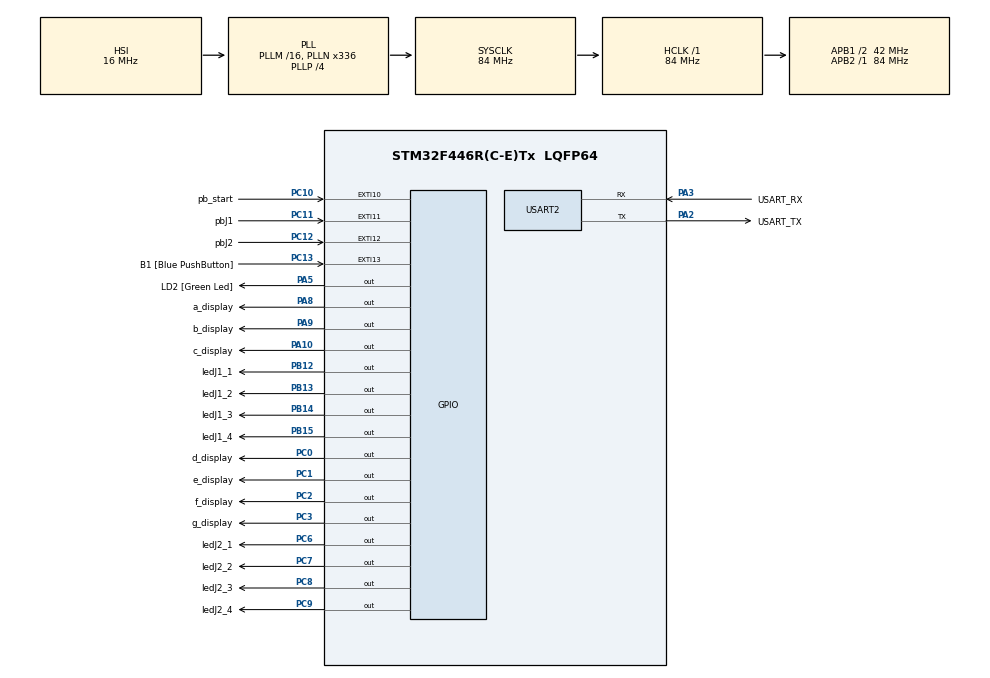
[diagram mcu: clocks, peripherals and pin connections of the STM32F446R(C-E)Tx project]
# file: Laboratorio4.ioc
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Mcu.Family=STM32F4
Mcu.Name=STM32F446R(C-E)Tx
Mcu.Package=LQFP64
NVIC.EXTI15_10_IRQn=true\:0\:0\:false\:false\:true\:true\:true\:true
NVIC.PriorityGroup=NVIC_PRIORITYGROUP_0
NVIC.TIM2_IRQn=true\:0\:0\:false\:false\:true\:true\:true\:true
PA10.GPIO_Label=c_display
PA10.Signal=GPIO_Output
PA13.GPIO_Label=TMS
PA13.Mode=Serial_Wire
PA13.Signal=SYS_JTMS-SWDIO
PA14.GPIO_Label=TCK
PA14.Mode=Serial_Wire
PA14.Signal=SYS_JTCK-SWCLK
PA2.GPIO_Label=USART_TX
PA2.Mode=Asynchronous
PA2.Signal=USART2_TX
PA3.GPIO_Label=USART_RX
PA3.Mode=Asynchronous
PA3.Signal=USART2_RX
PA5.GPIO_Label=LD2 [Green Led]
PA5.Signal=GPIO_Output
PA8.GPIO_Label=a_display
PA8.Signal=GPIO_Output
PA9.GPIO_Label=b_display
PA9.Signal=GPIO_Output
PB12.GPIO_Label=ledJ1_1
PB12.Signal=GPIO_Output
PB13.GPIO_Label=ledJ1_2
PB13.Signal=GPIO_Output
PB14.GPIO_Label=ledJ1_3
PB14.Signal=GPIO_Output
PB15.GPIO_Label=ledJ1_4
PB15.Signal=GPIO_Output
PB3.GPIO_Label=SWO
PB3.Signal=SYS_JTDO-SWO
PC0.GPIO_Label=d_display
PC0.Signal=GPIO_Output
PC1.GPIO_Label=e_display
PC1.Signal=GPIO_Output
PC10.GPIO_Label=pb_start
PC10.Signal=GPXTI10
PC11.GPIO_Label=pbJ1
PC11.GPIO_ModeDefaultEXTI=GPIO_MODE_IT_FALLING
PC11.GPIO_PuPd=GPIO_PULLUP
PC11.Signal=GPXTI11
PC12.GPIO_Label=pbJ2
PC12.GPIO_ModeDefaultEXTI=GPIO_MODE_IT_FALLING
PC12.GPIO_PuPd=GPIO_PULLUP
PC12.Signal=GPXTI12
PC13.GPIO_Label=B1 [Blue PushButton]
PC13.GPIO_ModeDefaultEXTI=GPIO_MODE_IT_FALLING
PC13.Signal=GPXTI13
PC14-OSC32_IN.Mode=LSE-External-Oscillator
PC14-OSC32_IN.Signal=RCC_OSC32_IN
PC15-OSC32_OUT.Mode=LSE-External-Oscillator
PC15-OSC32_OUT.Signal=RCC_OSC32_OUT
PC2.GPIO_Label=f_display
PC2.Signal=GPIO_Output
PC3.GPIO_Label=g_display
PC3.Signal=GPIO_Output
PC6.GPIO_Label=ledJ2_1
PC6.Signal=GPIO_Output
PC7.GPIO_Label=ledJ2_2
PC7.Signal=GPIO_Output
PC8.GPIO_Label=ledJ2_3
PC8.Signal=GPIO_Output
PC9.GPIO_Label=ledJ2_4
PC9.Signal=GPIO_Output
PH0-OSC_IN.Mode=HSE-External-Oscillator
PH0-OSC_IN.Signal=RCC_OSC_IN
PH1-OSC_OUT.Mode=HSE-External-Oscillator
PH1-OSC_OUT.Signal=RCC_OSC_OUT
ProjectManager.HeapSize=0x200
ProjectManager.StackSize=0x400
ProjectManager.TargetToolchain=STM32CubeIDE
RCC.48MHZClocksFreq_Value=84000000
RCC.AHBFreq_Value=84000000
RCC.APB1CLKDivider=RCC_HCLK_DIV2
RCC.APB1Freq_Value=42000000
RCC.APB1TimFreq_Value=84000000
RCC.APB2Freq_Value=84000000
RCC.APB2TimFreq_Value=84000000
RCC.CortexFreq_Value=84000000
RCC.FLatency-AdvancedSettings=FLASH_LATENCY_2
RCC.HCLKFreq_Value=84000000
RCC.HSE_VALUE=8000000
RCC.HSI_VALUE=16000000
RCC.PLLN=336
RCC.PLLP=RCC_PLLP_DIV4
RCC.SYSCLKFreq_VALUE=84000000
RCC.SYSCLKSource=RCC_SYSCLKSOURCE_PLLCLK
RCC.USBFreq_Value=168000000
RCC.VCOOutputFreq_Value=336000000
TIM2.Period=9999
TIM2.Prescaler=8399
USART2.VirtualMode=VM_ASYNC
VP_TIM2_VS_ClockSourceINT.Mode=Internal
board=NUCLEO-F446RE

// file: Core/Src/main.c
/* USER CODE BEGIN Header */
/**
  ******************************************************************************
  * @file           : main.c
  * @brief          : Main program body
  ******************************************************************************
  * @attention
  *
  * Copyright (c) 2026 STMicroelectronics.
  * All rights reserved.
  *
  * This software is licensed under terms that can be found in the LICENSE file
  * in the root directory of this software component.
  * If no LICENSE file comes with this software, it is provided AS-IS.
  *
  ******************************************************************************
  */
/* USER CODE END Header */
#include "main.h"

TIM_HandleTypeDef htim2;

UART_HandleTypeDef huart2;

/* USER CODE BEGIN PV */
uint8_t estado_J1 = 0;
uint8_t estado_J2 = 0;
volatile uint8_t activar_conteo_J1 = 0;
volatile uint8_t activar_conteo_J2 = 0;
uint8_t habilitar_jugadores = 0;
uint8_t contador_mostrar_dis = 0;
uint8_t activar_conteo = 0;
uint8_t reset = 0;

static const uint8_t dig_display[16] =
{
	0x7E, // 0
	0x18, // 1
	0x6D, // 2
	0x3D, // 3
	0x1B, // 4
	0x37, // 5
	0x77, // 6
	0x1C, // 7
	0x7F, // 8
	0x3F, // 9
	0x5F, // A
	0x73, // b
	0x66, // C
	0x79, // d
	0x67, // E
	0x47  // F
};
/* USER CODE END PV */

void SystemClock_Config(void);
static void MX_GPIO_Init(void);
static void MX_USART2_UART_Init(void);
static void MX_TIM2_Init(void);
/* USER CODE BEGIN PFP */
void display_show(uint8_t numero);
/* USER CODE END PFP */

int main(void)
{

  /* MCU Configuration--------------------------------------------------------*/

  /* Reset of all peripherals, Initializes the Flash interface and the Systick. */
  HAL_Init();

  /* Configure the system clock */
  SystemClock_Config();

  /* Initialize all configured peripherals */
  MX_GPIO_Init();
  MX_USART2_UART_Init();
  MX_TIM2_Init();
  /* USER CODE BEGIN 2 */
  HAL_TIM_Base_Start_IT(&htim2);
  /* USER CODE END 2 */

  /* Infinite loop */
  /* USER CODE BEGIN WHILE */
  while (1)
  	{
	  if (reset){
		  estado_J1 = 0x00;
		  estado_J2 = 0x00;
	  }
  // ================== CONTADOR J1 (PC0 a PC3) ================================
  			if (activar_conteo_J1)
  			{
  				activar_conteo_J1 = 0;

  				if (estado_J1 == 0x00)
  				{
  					estado_J1 = 0x01;
  				}
  				else
  				{
  					estado_J1 <<= 1; //Desplazo el 1 para encender los leds
  				}

  				if (estado_J1 > 0x08)
  				{
  					estado_J1 = 0x0F;
  					habilitar_jugadores = 0;
  					activar_conteo = 0;
  					display_show(1);
  				}
  			}

  			// Actualizar LEDs J1
  			HAL_GPIO_WritePin(ledJ1_1_GPIO_Port, ledJ1_1_Pin, (estado_J1 & 0x01) ? GPIO_PIN_SET : GPIO_PIN_RESET);
  			HAL_GPIO_WritePin(ledJ1_2_GPIO_Port, ledJ1_2_Pin, (estado_J1 & 0x02) ? GPIO_PIN_SET : GPIO_PIN_RESET);
  			HAL_GPIO_WritePin(ledJ1_3_GPIO_Port, ledJ1_3_Pin, (estado_J1 & 0x04) ? GPIO_PIN_SET : GPIO_PIN_RESET);
  			HAL_GPIO_WritePin(ledJ1_4_GPIO_Port, ledJ1_4_Pin, (estado_J1 & 0x08) ? GPIO_PIN_SET : GPIO_PIN_RESET);

  			if (activar_conteo_J2)
  			{
  				activar_conteo_J2 = 0;

  				if (estado_J2 == 0x00)
  				{
  					estado_J2 = 0x01;
  				}
  				else
  				{
  					estado_J2 <<= 1; //Desplazo el 1 para encender los leds
  				}

  				if (estado_J2 > 0x08)
  				{
  					estado_J2 = 0x0F;
  					habilitar_jugadores = 0;
  					activar_conteo = 0;
  					display_show(2);
  				}
  			}

  			// Actualizar LEDs J2
  			HAL_GPIO_WritePin(ledJ2_1_GPIO_Port, ledJ2_1_Pin, (estado_J2 & 0x01) ? GPIO_PIN_SET : GPIO_PIN_RESET);
  			HAL_GPIO_WritePin(ledJ2_2_GPIO_Port, ledJ2_2_Pin, (estado_J2 & 0x02) ? GPIO_PIN_SET : GPIO_PIN_RESET);
  			HAL_GPIO_WritePin(ledJ2_3_GPIO_Port, ledJ2_3_Pin, (estado_J2 & 0x04) ? GPIO_PIN_SET : GPIO_PIN_RESET);
  			HAL_GPIO_WritePin(ledJ2_4_GPIO_Port, ledJ2_4_Pin, (estado_J2 & 0x08) ? GPIO_PIN_SET : GPIO_PIN_RESET);

    /* USER CODE END WHILE */

  }
}

void SystemClock_Config(void)
{
  RCC_OscInitTypeDef RCC_OscInitStruct = {0};
  RCC_ClkInitTypeDef RCC_ClkInitStruct = {0};

  /** Configure the main internal regulator output voltage
  */
  __HAL_RCC_PWR_CLK_ENABLE();
  __HAL_PWR_VOLTAGESCALING_CONFIG(PWR_REGULATOR_VOLTAGE_SCALE3);

  /** Initializes the RCC Oscillators according to the specified parameters
  * in the RCC_OscInitTypeDef structure.
  */
  RCC_OscInitStruct.OscillatorType = RCC_OSCILLATORTYPE_HSI;
  RCC_OscInitStruct.HSIState = RCC_HSI_ON;
  RCC_OscInitStruct.HSICalibrationValue = RCC_HSICALIBRATION_DEFAULT;
  RCC_OscInitStruct.PLL.PLLState = RCC_PLL_ON;
  RCC_OscInitStruct.PLL.PLLSource = RCC_PLLSOURCE_HSI;
  RCC_OscInitStruct.PLL.PLLM = 16;
  RCC_OscInitStruct.PLL.PLLN = 336;
  RCC_OscInitStruct.PLL.PLLP = RCC_PLLP_DIV4;
  RCC_OscInitStruct.PLL.PLLQ = 2;
  RCC_OscInitStruct.PLL.PLLR = 2;
  if (HAL_RCC_OscConfig(&RCC_OscInitStruct) != HAL_OK)
  {
    Error_Handler();
  }

  /** Initializes the CPU, AHB and APB buses clocks
  */
  RCC_ClkInitStruct.ClockType = RCC_CLOCKTYPE_HCLK|RCC_CLOCKTYPE_SYSCLK
                              |RCC_CLOCKTYPE_PCLK1|RCC_CLOCKTYPE_PCLK2;
  RCC_ClkInitStruct.SYSCLKSource = RCC_SYSCLKSOURCE_PLLCLK;
  RCC_ClkInitStruct.AHBCLKDivider = RCC_SYSCLK_DIV1;
  RCC_ClkInitStruct.APB1CLKDivider = RCC_HCLK_DIV2;
  RCC_ClkInitStruct.APB2CLKDivider = RCC_HCLK_DIV1;

  if (HAL_RCC_ClockConfig(&RCC_ClkInitStruct, FLASH_LATENCY_2) != HAL_OK)
  {
    Error_Handler();
  }
}

static void MX_TIM2_Init(void)
{

  TIM_ClockConfigTypeDef sClockSourceConfig = {0};
  TIM_MasterConfigTypeDef sMasterConfig = {0};

  htim2.Instance = TIM2;
  htim2.Init.Prescaler = 8399;
  htim2.Init.CounterMode = TIM_COUNTERMODE_UP;
  htim2.Init.Period = 9999;
  htim2.Init.ClockDivision = TIM_CLOCKDIVISION_DIV1;
  htim2.Init.AutoReloadPreload = TIM_AUTORELOAD_PRELOAD_DISABLE;
  if (HAL_TIM_Base_Init(&htim2) != HAL_OK)
  {
    Error_Handler();
  }
  sClockSourceConfig.ClockSource = TIM_CLOCKSOURCE_INTERNAL;
  if (HAL_TIM_ConfigClockSource(&htim2, &sClockSourceConfig) != HAL_OK)
  {
    Error_Handler();
  }
  sMasterConfig.MasterOutputTrigger = TIM_TRGO_RESET;
  sMasterConfig.MasterSlaveMode = TIM_MASTERSLAVEMODE_DISABLE;
  if (HAL_TIMEx_MasterConfigSynchronization(&htim2, &sMasterConfig) != HAL_OK)
  {
    Error_Handler();
  }

}

static void MX_USART2_UART_Init(void)
{

  huart2.Instance = USART2;
  huart2.Init.BaudRate = 115200;
  huart2.Init.WordLength = UART_WORDLENGTH_8B;
  huart2.Init.StopBits = UART_STOPBITS_1;
  huart2.Init.Parity = UART_PARITY_NONE;
  huart2.Init.Mode = UART_MODE_TX_RX;
  huart2.Init.HwFlowCtl = UART_HWCONTROL_NONE;
  huart2.Init.OverSampling = UART_OVERSAMPLING_16;
  if (HAL_UART_Init(&huart2) != HAL_OK)
  {
    Error_Handler();
  }

}

static void MX_GPIO_Init(void)
{
  GPIO_InitTypeDef GPIO_InitStruct = {0};

  /* GPIO Ports Clock Enable */
  __HAL_RCC_GPIOC_CLK_ENABLE();
  __HAL_RCC_GPIOH_CLK_ENABLE();
  __HAL_RCC_GPIOA_CLK_ENABLE();
  __HAL_RCC_GPIOB_CLK_ENABLE();

  /*Configure GPIO pin Output Level */
  HAL_GPIO_WritePin(GPIOC, d_display_Pin|e_display_Pin|f_display_Pin|g_display_Pin
                          |ledJ2_1_Pin|ledJ2_2_Pin|ledJ2_3_Pin|ledJ2_4_Pin, GPIO_PIN_RESET);

  /*Configure GPIO pin Output Level */
  HAL_GPIO_WritePin(GPIOA, LD2_Pin|a_display_Pin|b_display_Pin|c_display_Pin, GPIO_PIN_RESET);

  /*Configure GPIO pin Output Level */
  HAL_GPIO_WritePin(GPIOB, ledJ1_1_Pin|ledJ1_2_Pin|ledJ1_3_Pin|ledJ1_4_Pin, GPIO_PIN_RESET);

  /*Configure GPIO pin : B1_Pin */
  GPIO_InitStruct.Pin = B1_Pin;
  GPIO_InitStruct.Mode = GPIO_MODE_IT_FALLING;
  GPIO_InitStruct.Pull = GPIO_NOPULL;
  HAL_GPIO_Init(B1_GPIO_Port, &GPIO_InitStruct);

  /*Configure GPIO pins : d_display_Pin e_display_Pin f_display_Pin g_display_Pin
                           ledJ2_1_Pin ledJ2_2_Pin ledJ2_3_Pin ledJ2_4_Pin */
  GPIO_InitStruct.Pin = d_display_Pin|e_display_Pin|f_display_Pin|g_display_Pin
                          |ledJ2_1_Pin|ledJ2_2_Pin|ledJ2_3_Pin|ledJ2_4_Pin;
  GPIO_InitStruct.Mode = GPIO_MODE_OUTPUT_PP;
  GPIO_InitStruct.Pull = GPIO_NOPULL;
  GPIO_InitStruct.Speed = GPIO_SPEED_FREQ_LOW;
  HAL_GPIO_Init(GPIOC, &GPIO_InitStruct);

  /*Configure GPIO pins : LD2_Pin a_display_Pin b_display_Pin c_display_Pin */
  GPIO_InitStruct.Pin = LD2_Pin|a_display_Pin|b_display_Pin|c_display_Pin;
  GPIO_InitStruct.Mode = GPIO_MODE_OUTPUT_PP;
  GPIO_InitStruct.Pull = GPIO_NOPULL;
  GPIO_InitStruct.Speed = GPIO_SPEED_FREQ_LOW;
  HAL_GPIO_Init(GPIOA, &GPIO_InitStruct);

  /*Configure GPIO pins : ledJ1_1_Pin ledJ1_2_Pin ledJ1_3_Pin ledJ1_4_Pin */
  GPIO_InitStruct.Pin = ledJ1_1_Pin|ledJ1_2_Pin|ledJ1_3_Pin|ledJ1_4_Pin;
  GPIO_InitStruct.Mode = GPIO_MODE_OUTPUT_PP;
  GPIO_InitStruct.Pull = GPIO_NOPULL;
  GPIO_InitStruct.Speed = GPIO_SPEED_FREQ_LOW;
  HAL_GPIO_Init(GPIOB, &GPIO_InitStruct);

  /*Configure GPIO pin : pb_start_Pin */
  GPIO_InitStruct.Pin = pb_start_Pin;
  GPIO_InitStruct.Mode = GPIO_MODE_IT_RISING;
  GPIO_InitStruct.Pull = GPIO_NOPULL;
  HAL_GPIO_Init(pb_start_GPIO_Port, &GPIO_InitStruct);

  /*Configure GPIO pins : pbJ1_Pin pbJ2_Pin */
  GPIO_InitStruct.Pin = pbJ1_Pin|pbJ2_Pin;
  GPIO_InitStruct.Mode = GPIO_MODE_IT_FALLING;
  GPIO_InitStruct.Pull = GPIO_PULLUP;
  HAL_GPIO_Init(GPIOC, &GPIO_InitStruct);

  /* EXTI interrupt init*/
  HAL_NVIC_SetPriority(EXTI15_10_IRQn, 0, 0);
  HAL_NVIC_EnableIRQ(EXTI15_10_IRQn);

}

/* USER CODE BEGIN 4 */

void HAL_TIM_PeriodElapsedCallback(TIM_HandleTypeDef *htim)
{
    if (htim->Instance == TIM2)
    {
    	if (activar_conteo)
    		{
    			display_show(contador_mostrar_dis);//Función que me permite ir con un puntero entre el arreglo de la libreria
    			reset = 1;
    			if (contador_mostrar_dis > 0)
    			{
    				contador_mostrar_dis--; //Realizo la cuenta regresiva
    			}
    			else
    			{
    				//Coloco valores a variables y activo banderas empleadas en el main
    				activar_conteo = 0;
    				habilitar_jugadores = 1;
    				reset = 0;
    				estado_J1 = 0;
    				estado_J2 = 0;
    			}
    		}
    }
}

void HAL_GPIO_EXTI_Callback(uint16_t GPIO_Pin){
	if(GPIO_Pin == pbJ1_Pin){
		if (habilitar_jugadores)
				{
					activar_conteo_J1 = 1; //Habilito bandera para iniciar el conteo de J1
				}
	}
	else if(GPIO_Pin == pbJ2_Pin){
		if (habilitar_jugadores)
				{
					activar_conteo_J2 = 1; //Habilito bandera para iniciar el conteo de J2
				}
	}
	else if (GPIO_Pin == pb_start_Pin){
		if (!activar_conteo && !habilitar_jugadores) //Evita el reinicio del conteo cuando se está ejecutando y cuando los jugadores están jugando
				{
					//Activo las banderas que me sirven para iniciar el conteo
					contador_mostrar_dis = 5;
					activar_conteo = 1;
				}
	}
}

void display_show(uint8_t numero)
{
    if (numero <= 16)
    {
        uint8_t pattern = dig_display[numero];

        HAL_GPIO_WritePin(g_display_GPIO_Port, g_display_Pin, (pattern & 0x01) ? GPIO_PIN_SET : GPIO_PIN_RESET);
        HAL_GPIO_WritePin(f_display_GPIO_Port, f_display_Pin, (pattern & 0x02) ? GPIO_PIN_SET : GPIO_PIN_RESET);
        HAL_GPIO_WritePin(a_display_GPIO_Port, a_display_Pin, (pattern & 0x04) ? GPIO_PIN_SET : GPIO_PIN_RESET);
        HAL_GPIO_WritePin(b_display_GPIO_Port, b_display_Pin, (pattern & 0x08) ? GPIO_PIN_SET : GPIO_PIN_RESET);
        HAL_GPIO_WritePin(c_display_GPIO_Port, c_display_Pin, (pattern & 0x10) ? GPIO_PIN_SET : GPIO_PIN_RESET);
        HAL_GPIO_WritePin(d_display_GPIO_Port, d_display_Pin, (pattern & 0x20) ? GPIO_PIN_SET : GPIO_PIN_RESET);
        HAL_GPIO_WritePin(e_display_GPIO_Port, e_display_Pin, (pattern & 0x40) ? GPIO_PIN_SET : GPIO_PIN_RESET);
    }
}

/* USER CODE END 4 */

void Error_Handler(void)
{
  __disable_irq();
  while (1)
  {
  }
}
